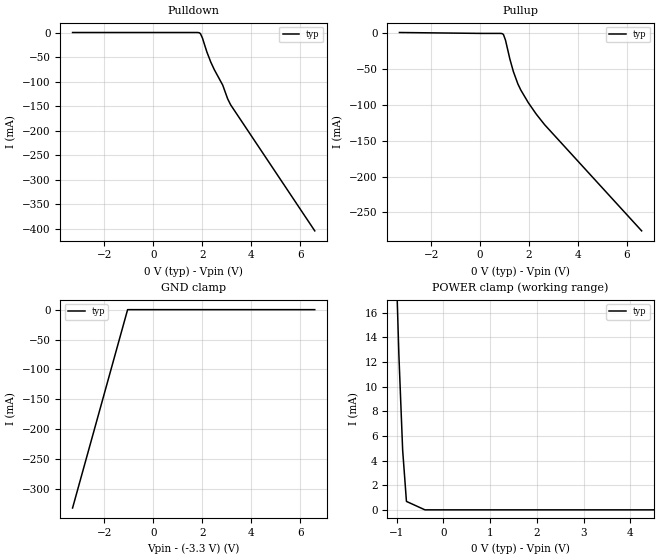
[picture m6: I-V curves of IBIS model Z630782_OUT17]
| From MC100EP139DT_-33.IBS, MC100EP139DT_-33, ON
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| (C) COPYRIGHT 1993-2000
| MENTOR GRAPHICS CORPORATION
| ICX STANDARD LIBRARY, ICX PROJECT MODELING,
| ICX CUSTOM MODELING, ICX VENDOR MODEL
| ALL RIGHTS RESERVED.
| THE FOLLOWING ARE TRADEMARKS OR SERVICE MARKS OF
| MENTOR GRAPHICS CORPORATION:ICX (R), ICX STANDARD
| LIBRARY(R), ICX PROJECT MODELING(R), ICX CUSTOM
| MODELING(R), qualityIBIS(TM), MODELVIEWER(TM),
| AND MODELEDITOR(TM)
| ALL COPIES OF SOFTWARE, INCLUDING BUT NOT LIMITED TO
| ANY MODIFICATIONS, ENHANCEMENTS OR DERIVATIVE WORKS,
| MUST CONTAIN ALL MENTOR GRAPHICS CORPORATION'S
| NOTICES AND LEGENDS, INCLUDING THOSE EMBEDDED IN
| SOFTWARE AND THOSE AFFIXED TO SOFTWARE MEDIUM
| AND CONTAINER, AS RECEIVED FROM MENTOR GRAPHICS
| CORPORATION.
| Model Application Version 1.89 2/18/99.
[Model] Z630782_OUT17
Model_type Output_ECL
Vref=-2.000V
Rref=50.00ohms
Cref=0.000F
Vmeas=-1.450V
C_comp 8.000pF NA NA
| variable typ   min   max
[Voltage Range] -3.300V NA NA
[POWER Clamp Reference] 0.000V NA NA
[Pullup Reference] 0.000V NA NA
[Pulldown Reference] 0.000V NA NA
[GND Clamp Reference] -3.300V NA NA
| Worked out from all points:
|   POWER clamp passes 1 mA (typ) near -0.80 V on its own axis
[GND Clamp]
-3.3V     -331.8mA   NA         NA
-1.05V    0A         NA         NA
6.6V      0A         NA         NA
[Pulldown]
-3.3V     0A         NA         NA
1.804V    0A         NA         NA
1.926V    -2.3mA     NA         NA
2.007V    -11mA      NA         NA
2.189V    -39.5mA    NA         NA
2.351V    -60.4mA    NA         NA
2.493V    -75.6mA    NA         NA
2.838V    -107.2mA   NA         NA
3.04V     -135.1mA   NA         NA
3.162V    -147.3mA   NA         NA
6.6V      -403.9mA   NA         NA
[Pullup]
-3.3V     1.268mA    NA         NA
912mV     -500uA     NA         NA
953mV     -1.7mA     NA         NA
1.034V    -9.3mA     NA         NA
1.216V    -36.1mA    NA         NA
1.358V    -53.4mA    NA         NA
1.54V     -70.5mA    NA         NA
1.662V    -79.2mA    NA         NA
1.966V    -96.7mA    NA         NA
2.29V     -112.7mA   NA         NA
2.635V    -127.6mA   NA         NA
6.6V      -275.9mA   NA         NA
[POWER Clamp]
-3.3V     362.9mA    NA         NA
-1.054V   25.28mA    NA         NA
-953mV    12.62mA    NA         NA
-872mV    4.854mA    NA         NA
-791mV    684.4uA    NA         NA
-395.5mV  0A         NA         NA
6.6V      0A         NA         NA
[Ramp]
| variable typ min max
dV/dt_r 490.9m/115.6p NA NA
dV/dt_f 490.9m/112.4p NA NA
R_load = 50.00Ohms
